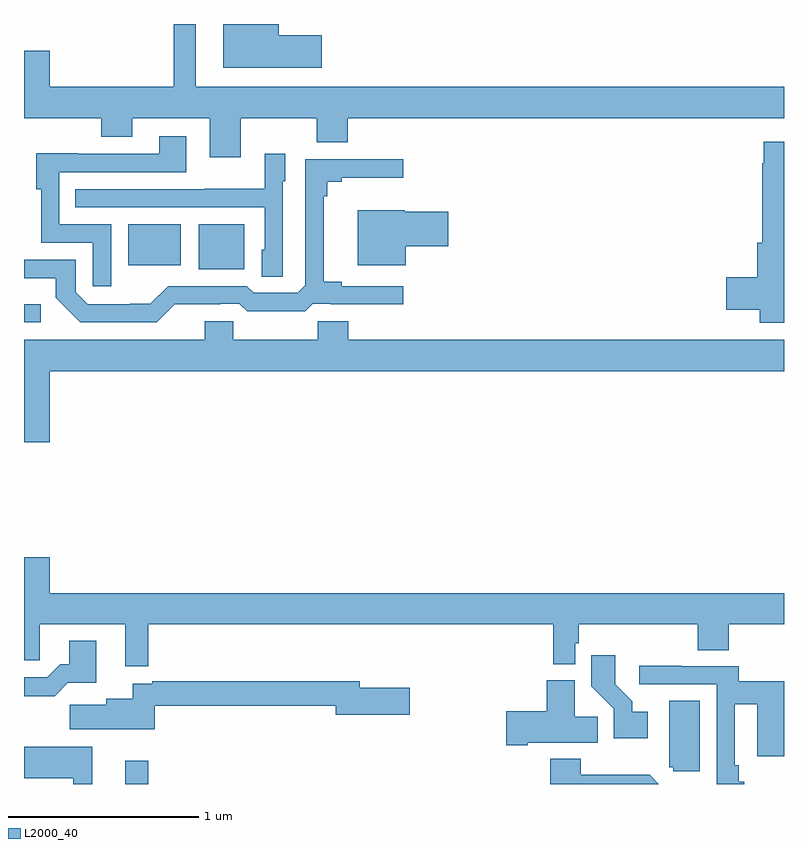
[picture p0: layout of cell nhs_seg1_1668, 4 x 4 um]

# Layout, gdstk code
import gdstk
lib = gdstk.Library(unit=1e-6, precision=1e-09)
def R(c, l, rs):  # rectangles x0, y0, x1, y1
    for r in rs: c.add(gdstk.rectangle(r[:2], r[2:], *l))
def P(c, l, *ps):  # polygons
    for p in ps: c.add(gdstk.Polygon(p, *l))
L2000_40 = (2000, 40)

nhs_seg1_1668 = lib.new_cell('nhs_seg1_1668')
R(nhs_seg1_1668, L2000_40, [(201.533,576.199,201.655,576.322), (201,578.628,201.088,578.725), (201.92,578.909,202.159,579.145), (201.548,578.93,201.826,579.145)])
P(nhs_seg1_1668, L2000_40, [(202.567,580.139),(202.342,580.139),(202.342,580.199),(202.049,580.199),(202.049,579.968),(202.567,579.968)],
  [(202.141,579.704),(202.541,579.704),(202.541,579.576),(202.705,579.576),(202.705,579.704),(205,579.704),(205,579.868),(201.904,579.868),(201.904,580.199),(201.787,580.199),(201.787,579.868),(201.136,579.868),(201.136,580.057),(201,580.057),(201,579.704),(201.407,579.704),(201.407,579.605),(201.571,579.605),(201.571,579.704),(201.977,579.704),(201.977,579.498),(202.141,579.498)],
  [(201.459,579.144),(201.186,579.144),(201.186,579.42),(201.853,579.42),(201.853,579.607),(201.713,579.607),(201.713,579.516),(201.283,579.516),(201.283,579.518),(201.065,579.518),(201.065,579.33),(201.09,579.33),(201.09,579.048),(201.363,579.048),(201.363,578.82),(201.459,578.82)],
  [(205,579.58),(204.894,579.58),(204.894,579.467),(204.886,579.467),(204.886,579.049),(204.86,579.049),(204.86,578.867),(204.696,578.867),(204.696,578.696),(204.872,578.696),(204.872,578.627),(205,578.627)],
  [(202.362,579.372),(202.375,579.372),(202.375,579.517),(202.266,579.517),(202.266,579.331),(201.949,579.331),(201.949,579.33),(201.271,579.33),(201.271,579.234),(202.266,579.234),(202.266,579.012),(202.25,579.012),(202.25,578.869),(202.362,578.869)],
  [(201.794,578.723),(202.034,578.723),(202.034,578.727),(202.134,578.727),(202.174,578.688),(202.481,578.688),(202.521,578.727),(202.615,578.727),(202.615,578.723),(202.996,578.723),(202.996,578.82),(202.672,578.82),(202.672,578.843),(202.577,578.843),(202.577,579.293),(202.595,579.293),(202.595,579.37),(202.672,579.37),(202.672,579.389),(202.996,579.389),(202.996,579.486),(202.479,579.486),(202.479,578.823),(202.44,578.784),(202.209,578.784),(202.173,578.82),(201.759,578.82),(201.665,578.726),(201.56,578.726),(201.56,578.724),(201.336,578.724),(201.273,578.787),(201.273,578.958),(201,578.958),(201,578.861),(201.166,578.861),(201.166,578.759),(201.296,578.628),(201.699,578.628)],
  [(203.008,579.029),(203.233,579.029),(203.233,579.212),(203.004,579.212),(203.004,579.22),(202.757,579.22),(202.757,578.93),(203.008,578.93)],
  [(201.136,578.372),(205,578.372),(205,578.536),(202.706,578.536),(202.706,578.634),(202.546,578.634),(202.546,578.536),(202.101,578.536),(202.101,578.634),(201.95,578.634),(201.95,578.536),(201,578.536),(201,577.998),(201.136,577.998)],
  [(201.655,577.04),(203.785,577.04),(203.785,576.83),(203.901,576.83),(203.901,576.939),(203.921,576.939),(203.921,577.04),(204.545,577.04),(204.545,576.904),(204.71,576.904),(204.71,577.04),(205,577.04),(205,577.204),(201.136,577.204),(201.136,577.393),(201,577.393),(201,576.85),(201.084,576.85),(201.084,577.04),(201.533,577.04),(201.533,576.819),(201.655,576.819)],
  [(201.23,576.731),(201.379,576.731),(201.379,576.952),(201.239,576.952),(201.239,576.829),(201.19,576.829),(201.123,576.762),(201,576.762),(201,576.662),(201.161,576.662)],
  [(204.283,576.58),(204.202,576.58),(204.202,576.635),(204.112,576.725),(204.112,576.877),(203.986,576.877),(203.986,576.714),(204.105,576.595),(204.105,576.44),(204.283,576.44)],
  [(204.791,576.21),(204.761,576.21),(204.761,576.298),(204.741,576.298),(204.741,576.618),(204.86,576.618),(204.86,576.345),(205,576.345),(205,576.739),(204.761,576.739),(204.761,576.819),(204.461,576.819),(204.461,576.822),(204.237,576.822),(204.237,576.723),(204.645,576.723),(204.645,576.199),(204.791,576.199)],
  [(203.65,576.416),(204.02,576.416),(204.02,576.554),(203.899,576.554),(203.899,576.745),(203.75,576.745),(203.75,576.582),(203.538,576.582),(203.538,576.404),(203.65,576.404)],
  [(201.689,576.61),(202.64,576.61),(202.64,576.563),(203.029,576.563),(203.029,576.705),(202.768,576.705),(202.768,576.739),(201.676,576.739),(201.676,576.726),(201.572,576.726),(201.572,576.649),(201.434,576.649),(201.434,576.617),(201.24,576.617),(201.24,576.488),(201.689,576.488)],
  [(204.556,576.637),(204.395,576.637),(204.395,576.288),(204.417,576.288),(204.417,576.267),(204.556,576.267)],
  [(201.358,576.394),(201,576.394),(201,576.23),(201.26,576.23),(201.26,576.199),(201.358,576.199)],
  [(204.293,576.247),(203.931,576.247),(203.931,576.331),(203.771,576.331),(203.771,576.199),(204.341,576.199)])

lib.write_gds('nhs_seg1_1668.gds')
